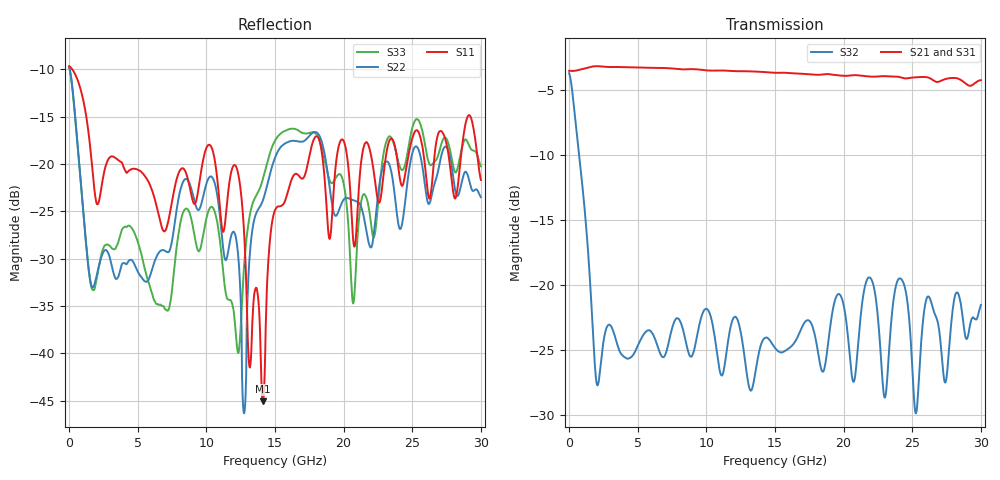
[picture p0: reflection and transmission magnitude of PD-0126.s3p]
! MARKI MICROWAVE INC.
! Email:  info@markimicrowave.com  Phone:  408-778-4200
! Model Number:  PD0126  Date:  07/14
! Filename:		PD-0126.S3P  Version: 1.0
! Description:  3-port S-parameter data for Power Divider PD-0126
! Frequency Range: 	10 MHz to 30 GHz
! Port Configuration:	PORT 1: COMMON, PORT 2 and Port 3: Output
! S3P File: Measurements: Mag<S11> Ang<S11> Mag<S12> Ang<S12> Mag<S13> Ang<S13>! row 1
!  Mag<S21> Ang<S21> Mag<S22> Ang<S22> Mag<S23> Ang<S23>! row 2
!  Mag<S31> Ang<S31> Mag<S32> Ang<S32> Mag<S33> Ang<S33>! row 3
# Hz S  dB  R 50
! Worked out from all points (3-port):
!   801 points, 10 MHz to 30 GHz, reference 50 ohm
!   strongest paths, dB at 10 MHz, 7.508 GHz, 15.01 GHz, 22.5 GHz, 30 GHz:
!     S21: -3.6, -3.4, -3.7, -4.0, -4.3
!     S31: -3.5, -3.4, -3.7, -3.9, -4.2
!     S32: -3.7, -23.3, -24.9, -22.5, -21.5
!   lowest |S11| = -45.1 dB at 14.11 GHz (marker M1), VSWR 1.01, Z = 50.5 + j0.249 ohm
!   |S11| at or under -10 dB: 233.7 MHz to end of sweep
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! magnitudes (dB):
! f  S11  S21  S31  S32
! 10 MHz  -9.7  -3.6  -3.5  -3.7
! 1.734 GHz  -21.0  -3.2  -3.2  -23.4
! 10.39 GHz  -18.3  -3.5  -3.5  -22.7
! 12.19 GHz  -20.3  -3.6  -3.6  -22.5
! 12.76 GHz  -27.3  -3.6  -3.6  -25.3
! 14.11 GHz  -45.1  -3.6  -3.6  -24.3
! 15.01 GHz  -24.9  -3.7  -3.7  -24.9
! 20.7 GHz  -28.1  -3.9  -3.8  -27.5
! 23.29 GHz  -17.7  -4.0  -3.9  -25.4
! 30 GHz  -21.7  -4.3  -4.2  -21.5
